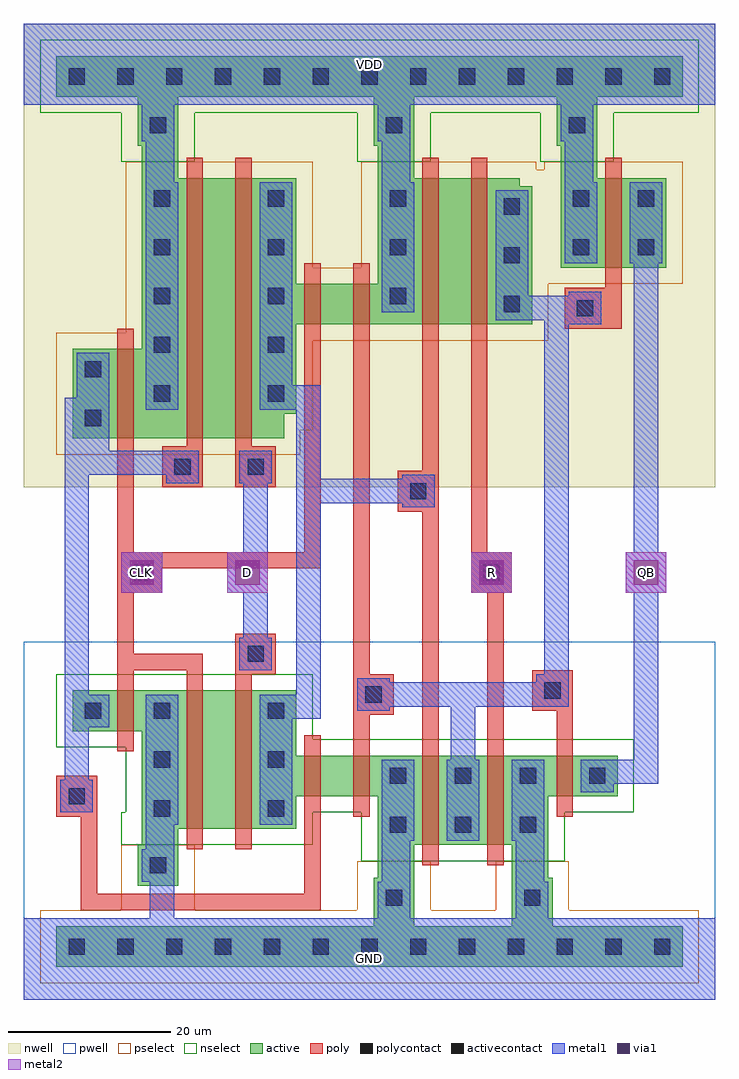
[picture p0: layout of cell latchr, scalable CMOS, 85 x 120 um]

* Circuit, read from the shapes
.subckt latchr CLK D GND QB R VDD
M1 GND CLK n1 GND nfet w=5u l=2u
M2 n2 CLK GND GND nfet w=17u l=2u
M3 n3 D n2 GND nfet w=17u l=2u
M4 n4 n1 n3 GND nfet w=5u l=2u
M5 GND n5 n4 GND nfet w=5u l=2u
M6 n5 n3 GND GND nfet w=11u l=2u
M7 GND R n5 GND nfet w=11u l=2u
M8 QB n5 GND GND nfet w=5u l=2u
M9 VDD CLK n1 VDD pfet w=11u l=2u
M10 n6 n1 VDD VDD pfet w=32u l=2u
M11 n3 D n6 VDD pfet w=32u l=2u
M12 n7 CLK n3 VDD pfet w=5u l=2u
M13 VDD n5 n7 VDD pfet w=5u l=2u
M14 n8 n3 VDD VDD pfet w=18u l=2u
M15 n5 R n8 VDD pfet w=18u l=2u
M16 QB n5 VDD VDD pfet w=11u l=2u
.ends

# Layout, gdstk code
from math import pi, radians
import gdstk
lib = gdstk.Library(unit=1e-6, precision=1e-09)
def R(c, l, rs):  # rectangles x0, y0, x1, y1
    for r in rs: c.add(gdstk.rectangle(r[:2], r[2:], *l))
def A(c, l, x, y, w, h, nx, ny, dx, dy):  # array of equal rectangles
    R(c, l, [(x+i*dx, y+j*dy, x+i*dx+w, y+j*dy+h) for i in range(nx) for j in range(ny)])
def P(c, l, *ps):  # polygons
    for p in ps: c.add(gdstk.Polygon(p, *l))
pwell = (41, 0)
nwell = (42, 0)
active = (43, 0)
pselect = (44, 0)
nselect = (45, 0)
poly = (46, 0)
polycontact = (47, 0)
activecontact = (48, 0)
metal1 = (49, 0)
via1 = (50, 0)
metal2 = (51, 0)

via = lib.new_cell('via')
R(via, metal1, [(-2.5,-2.5,2.5,2.5)])
R(via, via1, [(-1.5,-1.5,1.5,1.5)])
R(via, metal2, [(-2.5,-2.5,2.5,2.5)])

latchr = lib.new_cell('latchr')
R(latchr, pwell, [(0,0,85,44)])
P(latchr, pwell, [(37.5,13),(37.5,15),(8.5,15),(8.5,27),(0,27),(0,44),(39.5,44),(39.5,36),(79,36),(79,19),(70.5,19),(70.5,13)])
R(latchr, nwell, [(0,63,85,120), (60,84,85,107)])
P(latchr, nwell, [(0,63),(0,86),(8.5,86),(8.5,107),(67,107),(67,106),(68.5,106),(68.5,77),(39.5,77),(39.5,66),(38,66),(38,63)])
R(latchr, active, [(4,4,81,9), (43,9,48,15), (60,9,65,15), (14,14,19,19), (43.5,15,48,19), (60,15,64.5,19), (14.5,19,19,21), (67.5,25,73,30), (6,33,11.5,38), (6,69,11.5,80), (66,90,71.5,101), (66,90,79,101), (73.5,90,79,101), (14.5,101,19,105), (43.5,101,48,105), (66,101,70.5,105), (14,105,19,111), (43,105,48,111), (65.5,105,70.5,111), (4,111,81,116)])
P(latchr, active, [(43.5,19),(43.5,25),(33.5,25),(33.5,21),(14.5,21),(14.5,33),(6,33),(6,38),(33.5,38),(33.5,30),(73,30),(73,25),(64.5,25),(64.5,19)],
  [(6,69),(6,80),(14.5,80),(14.5,101),(33.5,101),(33.5,88),(43.5,88),(43.5,101),(61,101),(61,100),(62.5,100),(62.5,83),(33.5,83),(33.5,72),(32,72),(32,69)],
  [(57,83),(57,101),(61,101),(61,100),(62.5,100),(62.5,83)])
R(latchr, pselect, [(2,2,83,11), (12,11,21,19), (41,11,50,17), (58,11,67,17), (64,88,81,103)])
P(latchr, pselect, [(4,67),(4,82),(12.5,82),(12.5,103),(35.5,103),(35.5,90),(41.5,90),(41.5,103),(63,103),(63,102),(64.5,102),(64.5,81),(35.5,81),(35.5,70),(34,70),(34,67)])
R(latchr, nselect, [(12,19,12.5,23), (12,103,21,109), (41,103,50,109), (63.5,103,72.5,109), (2,109,83,118)])
P(latchr, nselect, [(41.5,17),(41.5,23),(35.5,23),(35.5,19),(12.5,19),(12.5,31),(4,31),(4,40),(35.5,40),(35.5,32),(75,32),(75,23),(66.5,23),(66.5,17)])
R(latchr, poly, [(49,16.5,51,19), (57,16.5,59,19), (20,18.5,22,21), (26,18.5,28,21), (49,19,51,30), (57,19,59,30), (20,21,22,38), (26,21,28,38), (4,22.5,9,27.5), (34.5,22.5,36.5,25), (40.5,22.5,42.5,25), (65.5,22.5,67.5,25), (34.5,25,36.5,30), (40.5,25,42.5,30), (65.5,25,67.5,30), (34.5,30,36.5,32.5), (40.5,30,42.5,32.5), (49,30,51,32.5), (57,30,59,32.5), (65.5,30,67.5,32.5), (11.5,30.5,13.5,33), (11.5,33,13.5,38), (40.5,35,45.5,40), (62.5,35.5,67.5,40.5), (11.5,38,13.5,40.5), (20,38,22,40.5), (26,38,28,40.5), (26,40,31,45), (12,50,17,55), (55,50,60,55), (46,60,51,65), (17,63,22,68), (26,63,31,68), (11.5,66.5,13.5,69), (20,66.5,22,69), (26,66.5,28,69), (11.5,69,13.5,80), (20,69,22,101), (26,69,28,101), (11.5,80,13.5,82.5), (34.5,80.5,36.5,83), (40.5,80.5,42.5,83), (49,80.5,51,83), (55,80.5,57,83), (66.5,82.5,71.5,87.5), (34.5,83,36.5,88), (40.5,83,42.5,88), (49,83,51,101), (55,83,57,101), (71.5,87.5,73.5,90), (34.5,88,36.5,90.5), (40.5,88,42.5,90.5), (71.5,90,73.5,101), (20,101,22,103.5), (26,101,28,103.5), (49,101,51,103.5), (55,101,57,103.5), (71.5,101,73.5,103.5)])
R(latchr, polycontact, [(5.5,24,7.5,26), (42,36.5,44,38.5), (64,37,66,39), (27.5,41.5,29.5,43.5), (13.5,51.5,15.5,53.5), (56.5,51.5,58.5,53.5), (47.5,61.5,49.5,63.5), (18.5,64.5,20.5,66.5), (27.5,64.5,29.5,66.5), (68,84,70,86)])
A(latchr, activecontact, 5.5, 5.5, 2, 2, 13, 2, 6, 107)
A(latchr, activecontact, 45, 20.5, 2, 2, 3, 2, 8, 6)
A(latchr, activecontact, 16, 22.5, 2, 2, 1, 3, 0, 6)
A(latchr, activecontact, 30, 22.5, 2, 2, 1, 3, 0, 6)
A(latchr, activecontact, 16, 73.5, 2, 2, 1, 5, 0, 6)
A(latchr, activecontact, 30, 73.5, 2, 2, 1, 5, 0, 6)
A(latchr, activecontact, 59, 84.5, 2, 2, 1, 3, 0, 6)
A(latchr, activecontact, 45, 85.5, 2, 2, 1, 3, 0, 6)
R(latchr, activecontact, [(44.5,11.5,46.5,13.5), (61.5,11.5,63.5,13.5), (15.5,15.5,17.5,17.5), (69.5,26.5,71.5,28.5), (7.5,34.5,9.5,36.5), (7.5,70.5,9.5,72.5), (7.5,76.5,9.5,78.5), (67.5,91.5,69.5,93.5), (75.5,91.5,77.5,93.5), (67.5,97.5,69.5,99.5), (75.5,97.5,77.5,99.5), (15.5,106.5,17.5,108.5), (44.5,106.5,46.5,108.5), (67,106.5,69,108.5)])
A(latchr, metal1, 44, 19.5, 4, 10, 3, 1, 8, 0)
R(latchr, metal1, [(0,0,85,10), (43.5,10,47.5,14.5), (60.5,10,64.5,14.5), (14.5,14.5,18.5,18.5), (44,14.5,47.5,19.5), (60.5,14.5,64,19.5), (15,18.5,18.5,21.5), (15,21.5,19,37.5), (29,21.5,33,37.5), (4.5,23,8.5,27), (68.5,25.5,72.5,29.5), (6.5,33.5,10.5,37.5), (41,35.5,45,39.5), (63,36,67,40), (26.5,40.5,30.5,44.5), (12.5,50.5,16.5,54.5), (55.5,50.5,59.5,54.5), (46.5,60.5,50.5,64.5), (17.5,63.5,21.5,67.5), (26.5,63.5,30.5,67.5), (6.5,69.5,10.5,79.5), (15,72.5,19,100.5), (29,72.5,33,100.5), (67,83,71,87), (58,83.5,62,99.5), (44,84.5,48,100.5), (66.5,90.5,70.5,100.5), (74.5,90.5,78.5,100.5), (15,100.5,18.5,105.5), (44,100.5,47.5,105.5), (66.5,100.5,70,105.5), (14.5,105.5,18.5,110), (43.5,105.5,47.5,110), (66,105.5,70,110), (0,110,85,120)])
R(latchr, metal2, [(12,50,17,55), (25,50,30,55), (55,50,60,55), (74,50,79,55)])
latchr.add(gdstk.FlexPath([(12.5,42.5),(12.5,66.5)], 2, ends="flush", simple_path=True, layer=46, datatype=0))  # poly
latchr.add(gdstk.FlexPath([(22,41.5),(11.5,41.5)], 2, ends="flush", simple_path=True, layer=46, datatype=0))  # poly
latchr.add(gdstk.FlexPath([(35.5,22.5),(35.5,12),(8,12),(8,22.5)], 2, ends="flush", simple_path=True, layer=46, datatype=0))  # poly
latchr.add(gdstk.FlexPath([(50,32.5),(50,80.5)], 2, ends="flush", simple_path=True, layer=46, datatype=0))  # poly
latchr.add(gdstk.FlexPath([(41.5,80.5),(41.5,32.5)], 2, ends="flush", simple_path=True, layer=46, datatype=0))  # poly
latchr.add(gdstk.FlexPath([(35.5,80.5),(35.5,54),(13.5,54)], 2, ends="flush", simple_path=True, layer=46, datatype=0))  # poly
latchr.add(gdstk.FlexPath([(58,32.5),(58,50)], 2, ends="flush", simple_path=True, layer=46, datatype=0))  # poly
latchr.add(gdstk.FlexPath([(56,80.5),(56,55)], 2, ends="flush", simple_path=True, layer=46, datatype=0))  # poly
latchr.add(gdstk.FlexPath([(66.5,35.5),(66.5,32.5)], 2, ends="flush", simple_path=True, layer=46, datatype=0))  # poly
latchr.add(gdstk.FlexPath([(72.5,87.5),(72.5,82.5)], 2, ends="flush", simple_path=True, layer=46, datatype=0))  # poly
latchr.add(gdstk.FlexPath([(76.5,90.5),(76.5,28),(72.5,28)], 3, ends="flush", simple_path=True, layer=49, datatype=0))  # metal1
latchr.add(gdstk.FlexPath([(9,69.5),(9,66),(17.5,66)], 3, ends="flush", simple_path=True, layer=49, datatype=0))  # metal1
latchr.add(gdstk.FlexPath([(6.5,27),(6.5,74)], 3, ends="flush", simple_path=True, layer=49, datatype=0))  # metal1
latchr.add(gdstk.FlexPath([(17,14.5),(17,10)], 3, ends="flush", simple_path=True, layer=49, datatype=0))  # metal1
latchr.add(gdstk.FlexPath([(28.5,44.5),(28.5,63.5)], 3, ends="flush", simple_path=True, layer=49, datatype=0))  # metal1
latchr.add(gdstk.FlexPath([(33,36),(35,36),(35,74),(33,74)], 3, ends="flush", simple_path=True, layer=49, datatype=0))  # metal1
latchr.add(gdstk.FlexPath([(45,37.5),(54,37.5),(54,29.5)], 3, ends="flush", simple_path=True, layer=49, datatype=0))  # metal1
latchr.add(gdstk.FlexPath([(46.5,62.5),(36.5,62.5)], 3, ends="flush", simple_path=True, layer=49, datatype=0))  # metal1
latchr.add(gdstk.FlexPath([(62,85),(65.5,85),(65.5,37.5),(55.5,37.5)], 3, ends="flush", simple_path=True, layer=49, datatype=0))  # metal1
latchr.add(gdstk.Reference(via, (76.5,52.5), rotation=pi, x_reflection=True))
latchr.add(gdstk.Reference(via, (14.5,52.5), rotation=pi, x_reflection=True))
latchr.add(gdstk.Reference(via, (57.5,52.5), rotation=pi, x_reflection=True))
latchr.add(gdstk.Reference(via, (27.5,52.5), rotation=pi, x_reflection=True))
latchr.add(gdstk.Label('GND', (42.5,5), layer=2, texttype=0))
latchr.add(gdstk.Label('VDD', (42.5,115), layer=2, texttype=0))
latchr.add(gdstk.Label('R', (57.5,52.5), layer=3, texttype=0))
latchr.add(gdstk.Label('CLK', (14.5,52.5), layer=3, texttype=0))
latchr.add(gdstk.Label('QB', (76.5,52.5), layer=3, texttype=0))
latchr.add(gdstk.Label('D', (27.5,52.5), layer=3, texttype=0))
latchr.add(gdstk.Label('R', (57.5,52.5), layer=3, texttype=0))
latchr.add(gdstk.Label('CLK', (14.5,52.5), layer=3, texttype=0))
latchr.add(gdstk.Label('QB', (76.5,52.5), layer=3, texttype=0))
latchr.add(gdstk.Label('D', (27.5,52.5), layer=3, texttype=0))
latchr.add(gdstk.Label('GND', (42.5,5), layer=2, texttype=0))
latchr.add(gdstk.Label('VDD', (42.5,115), layer=2, texttype=0))

lib.write_gds('latchr.gds')
